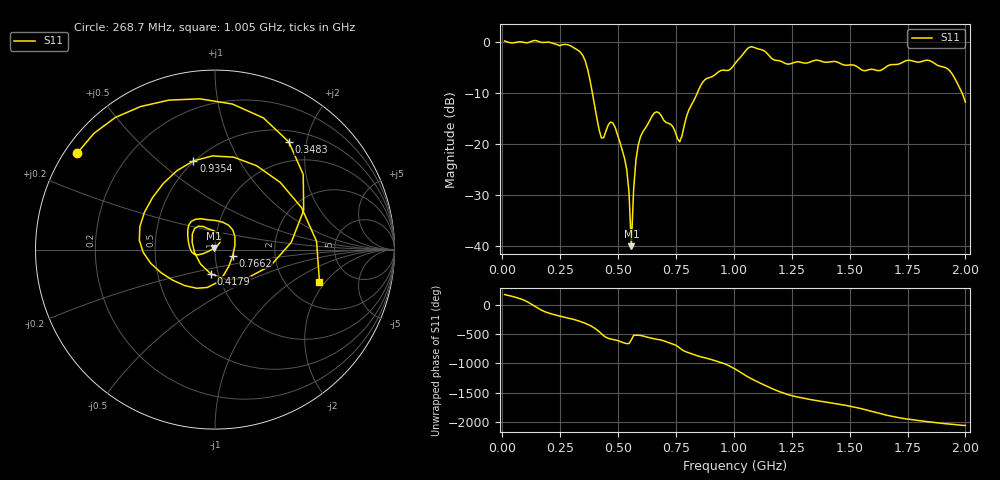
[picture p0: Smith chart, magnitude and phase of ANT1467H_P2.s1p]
!Created with skrf (http://scikit-rf.org).
# Hz S RI R 50.0
!freq ReS11 ImS11
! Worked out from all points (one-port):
!   201 points, 10 MHz to 2 GHz, reference 50 ohm
!   lowest |S11| = -40.0 dB at 557.2 MHz (marker M1), VSWR 1.02, Z = 49.5 + j0.854 ohm
!   |S11| at or under -10 dB: 388.8 MHz to 842.7 MHz (453.9 MHz wide, 73.7 % of centre); 1.985 GHz to end of sweep
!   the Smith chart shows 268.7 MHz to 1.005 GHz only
!   S11 on the Smith chart (normalised r, x): 268.7 MHz: 0.04, +0.32; 348.3 MHz: 0.67, +1.70; 417.9 MHz: 0.92, -0.26; 766.2 MHz: 1.22, -0.08; 935.4 MHz: 0.49, +0.66; 1.005 GHz: 3.05, -1.73
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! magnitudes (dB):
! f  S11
! 10 MHz  0.1
! 258.8 MHz  -0.6
! 268.7 MHz  -0.6
! 348.3 MHz  -2.8
! 378.1 MHz  -7.4
! 417.9 MHz  -17.2
! 437.9 MHz  -18.8
! 477.6 MHz  -15.9
! 507.5 MHz  -19.6
! 537.4 MHz  -25.0
! 547.3 MHz  -29.5
! 557.2 MHz  -40.0
! 567.2 MHz  -28.9
! 577.1 MHz  -23.2
! 597 MHz  -18.6
! 666.7 MHz  -13.7
! 756.2 MHz  -18.9
! 766.2 MHz  -19.6
! 855.8 MHz  -8.7
! 935.4 MHz  -5.9
! 1.005 GHz  -4.3
! 1.075 GHz  -1.0
! 1.254 GHz  -4.2
! 1.502 GHz  -4.6
! 1.632 GHz  -5.7
! 1.751 GHz  -3.7
! 1.92 GHz  -5.3
! 2 GHz  -11.8
